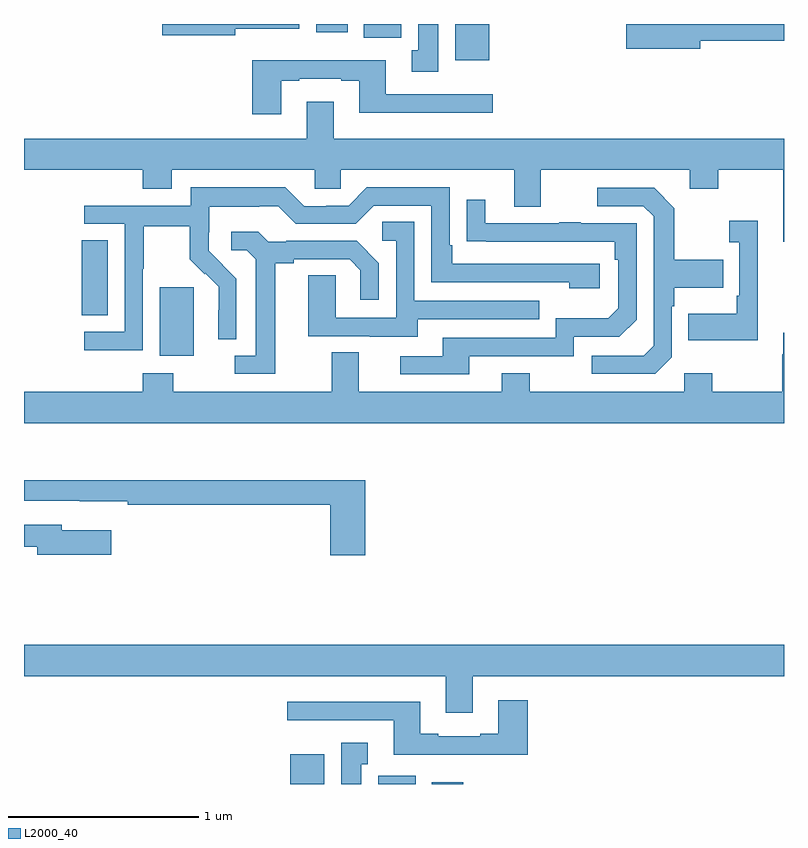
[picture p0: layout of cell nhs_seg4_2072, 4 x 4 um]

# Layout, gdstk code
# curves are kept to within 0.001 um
import gdstk
lib = gdstk.Library(unit=1e-6, precision=1e-09)
def R(c, l, rs):  # rectangles x0, y0, x1, y1
    for r in rs: c.add(gdstk.rectangle(r[:2], r[2:], *l))
def P(c, l, *ps):  # polygons
    for p in ps: c.add(gdstk.Polygon(p, *l))
L2000_40 = (2000, 40)

nhs_seg4_2072 = lib.new_cell('nhs_seg4_2072')
R(nhs_seg4_2072, L2000_40, [(218.402,814.9,218.581,815.056), (218.865,814.9,219.061,814.944), (219.146,814.9,219.313,814.909), (217.715,817.154,217.894,817.515), (217.303,817.366,217.441,817.763), (219.269,818.708,219.448,818.9), (218.789,818.828,218.986,818.9), (218.537,818.856,218.704,818.9)])
P(nhs_seg4_2072, L2000_40, [(220.558,818.812),(221,818.812),(221,818.9),(220.17,818.9),(220.17,818.77),(220.558,818.77)],
  [(219.181,818.9),(219.074,818.9),(219.074,818.762),(219.041,818.762),(219.041,818.649),(219.181,818.649)],
  [(218.112,818.876),(218.449,818.876),(218.449,818.9),(217.728,818.9),(217.728,818.84),(218.112,818.84)],
  [(218.353,818.601),(218.449,818.601),(218.449,818.613),(218.669,818.613),(218.669,818.601),(218.765,818.601),(218.765,818.432),(219.466,818.432),(219.466,818.529),(218.905,818.529),(218.905,818.71),(218.201,818.71),(218.201,818.424),(218.353,818.424)],
  [(221,818.296),(218.629,818.296),(218.629,818.491),(218.489,818.491),(218.489,818.296),(217,818.296),(217,818.132),(217.625,818.132),(217.625,818.033),(217.777,818.033),(217.777,818.132),(218.529,818.132),(218.529,818.034),(218.667,818.034),(218.667,818.132),(219.581,818.132),(219.581,817.938),(219.721,817.938),(219.721,818.132),(220.505,818.132),(220.505,818.033),(220.653,818.033),(220.653,818.132),(220.997,818.132),(220.997,817.755),(221,817.755)],
  [(217.626,817.612),(217.629,817.612),(217.629,817.836),(217.873,817.836),(217.873,817.661),(217.95,817.584),(217.953,817.587),(218.024,817.517),(218.024,817.394),(218.022,817.394),(218.022,817.24),(218.118,817.24),(218.118,817.558),(217.972,817.706),(217.972,817.803),(217.974,817.803),(217.974,817.937),(218.237,817.937),(218.237,817.941),(218.337,817.941),(218.43,817.848),(218.745,817.848),(218.841,817.944),(219.144,817.944),(219.144,817.542),(219.869,817.542),(219.869,817.508),(220.03,817.508),(220.03,817.638),(219.253,817.638),(219.253,817.735),(219.24,817.735),(219.24,818.04),(218.805,818.04),(218.709,817.944),(218.591,817.944),(218.591,817.941),(218.475,817.941),(218.375,818.041),(217.878,818.041),(217.878,817.944),(217.317,817.944),(217.317,817.848),(217.53,817.848),(217.53,817.281),(217.317,817.281),(217.317,817.183),(217.626,817.183)],
  [(220.41,817.146),(220.41,817.415),(220.423,817.415),(220.423,817.511),(220.679,817.511),(220.679,817.659),(220.423,817.659),(220.423,817.931),(220.317,818.037),(220.017,818.037),(220.017,817.941),(220.26,817.941),(220.314,817.887),(220.314,817.206),(220.263,817.155),(219.987,817.155),(219.987,817.059),(220.323,817.059)],
  [(219.343,817.152),(219.894,817.152),(219.894,817.254),(220.134,817.254),(220.224,817.344),(220.224,817.851),(219.929,817.851),(219.929,817.856),(219.817,817.856),(219.817,817.851),(219.427,817.851),(219.427,817.975),(219.331,817.975),(219.331,817.756),(220.108,817.755),(220.108,817.658),(220.128,817.658),(220.128,817.404),(220.075,817.351),(219.798,817.351),(219.798,817.248),(219.203,817.248),(219.203,817.152),(218.979,817.152),(218.979,817.056),(219.343,817.056)],
  [(220.862,817.864),(220.713,817.864),(220.713,817.751),(220.764,817.751),(220.764,817.471),(220.752,817.471),(220.752,817.375),(220.495,817.375),(220.495,817.235),(220.862,817.235)],
  [(219.073,817.347),(219.713,817.347),(219.713,817.443),(219.054,817.443),(219.054,817.859),(218.886,817.859),(218.886,817.758),(218.958,817.758),(218.958,817.353),(218.64,817.353),(218.64,817.577),(218.495,817.577),(218.495,817.257),(218.819,817.257),(218.819,817.253),(219.073,817.253)],
  [(218.323,817.64),(218.419,817.64),(218.419,817.662),(218.714,817.662),(218.771,817.605),(218.771,817.449),(218.868,817.449),(218.868,817.642),(218.752,817.758),(218.38,817.758),(218.38,817.755),(218.286,817.755),(218.234,817.807),(218.091,817.807),(218.091,817.71),(218.172,817.71),(218.219,817.663),(218.219,817.155),(218.109,817.155),(218.109,817.059),(218.323,817.059)],
  [(221,817.276),(220.997,817.276),(220.997,817.163),(220.99,817.163),(220.99,816.964),(220.623,816.964),(220.623,817.063),(220.476,817.063),(220.476,816.964),(219.663,816.964),(219.663,817.063),(219.515,817.063),(219.515,816.964),(218.761,816.964),(218.761,817.172),(218.621,817.172),(218.621,816.964),(217.785,816.964),(217.785,817.063),(217.625,817.063),(217.625,816.964),(217,816.964),(217,816.8),(221,816.8)],
  [(218.795,816.499),(217,816.499),(217,816.39),(217.294,816.39),(217.294,816.389),(217.546,816.389),(217.546,816.37),(218.612,816.37),(218.612,816.105),(218.795,816.105)],
  [(217.459,816.235),(217.198,816.235),(217.198,816.264),(217,816.264),(217,816.148),(217.07,816.148),(217.07,816.106),(217.459,816.106)],
  [(219.361,815.468),(221,815.468),(221,815.632),(217,815.632),(217,815.468),(219.221,815.468),(219.221,815.274),(219.361,815.274)],
  [(219.65,815.341),(219.497,815.341),(219.497,815.164),(219.401,815.164),(219.401,815.151),(219.181,815.151),(219.181,815.164),(219.085,815.164),(219.085,815.332),(218.385,815.332),(218.385,815.235),(218.945,815.235),(218.945,815.054),(219.65,815.054)],
  [(218.776,815.003),(218.809,815.003),(218.809,815.116),(218.669,815.116),(218.669,814.9),(218.776,814.9)])

lib.write_gds('nhs_seg4_2072.gds')
